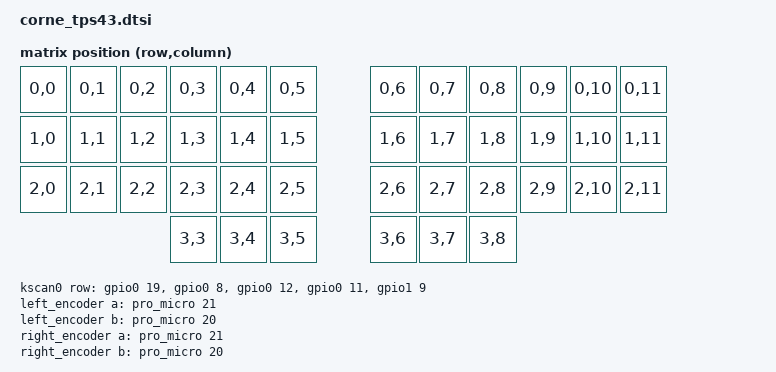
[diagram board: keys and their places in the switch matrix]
/*
 * Copyright (c) 2025 The ZMK Contributors
 *
 * SPDX-License-Identifier: MIT
 */

#include <dt-bindings/zmk/matrix_transform.h>

/ {
    chosen {
        zmk,kscan = &kscan0;
        zmk,matrix_transform = &default_transform;
    };

    default_transform: keymap_transform_0 {
        compatible = "zmk,matrix-transform";
        columns = <12>;
        rows = <4>;
        map = <
RC(0,0) RC(0,1) RC(0,2) RC(0,3) RC(0,4) RC(0,5)           RC(0,6) RC(0,7) RC(0,8) RC(0,9) RC(0,10) RC(0,11)
RC(1,0) RC(1,1) RC(1,2) RC(1,3) RC(1,4) RC(1,5)           RC(1,6) RC(1,7) RC(1,8) RC(1,9) RC(1,10) RC(1,11)
RC(2,0) RC(2,1) RC(2,2) RC(2,3) RC(2,4) RC(2,5)           RC(2,6) RC(2,7) RC(2,8) RC(2,9) RC(2,10) RC(2,11)
                        RC(3,3) RC(3,4) RC(3,5)           RC(3,6) RC(3,7) RC(3,8)
        >;
    };

    kscan0: kscan {
        compatible = "zmk,kscan-gpio-matrix";
        wakeup-source;

        diode-direction = "col2row";
        row-gpios
            = <&gpio0 19 (GPIO_ACTIVE_HIGH | GPIO_PULL_DOWN)>
            , <&gpio0 8 (GPIO_ACTIVE_HIGH | GPIO_PULL_DOWN)>
            , <&gpio0 12 (GPIO_ACTIVE_HIGH | GPIO_PULL_DOWN)>
            , <&gpio0 11 (GPIO_ACTIVE_HIGH | GPIO_PULL_DOWN)>
            , <&gpio1 9 (GPIO_ACTIVE_HIGH | GPIO_PULL_DOWN)>
            ;
    };

    left_encoder: encoder_left {
        compatible = "alps,ec11";
        steps = <80>;
        status = "disabled";
        a-gpios = <&pro_micro 21 (GPIO_ACTIVE_HIGH | GPIO_PULL_UP)>;
        b-gpios = <&pro_micro 20 (GPIO_ACTIVE_HIGH | GPIO_PULL_UP)>;
    };

    right_encoder: encoder_right {
        compatible = "alps,ec11";
        steps = <80>;
        status = "disabled";
        a-gpios = <&pro_micro 21 (GPIO_ACTIVE_HIGH | GPIO_PULL_UP)>;
        b-gpios = <&pro_micro 20 (GPIO_ACTIVE_HIGH | GPIO_PULL_UP)>;
    };

    sensors: sensors {
        compatible = "zmk,keymap-sensors";
        sensors = <&left_encoder &right_encoder>;
        triggers-per-rotation = <20>;
    };

    tps43_input: tps43_input {
        compatible = "zmk,input-listener";
        device = <&tps43>;
    };
}; 

&pinctrl {
    i2c1_default: i2c1_default {
        group1 {
            psels = <NRF_PSEL(TWIM_SDA, 1, 7)>,
                <NRF_PSEL(TWIM_SCL, 0, 24)>;
        };
    };

    i2c1_sleep: i2c1_sleep {
        group1 {
            psels = <NRF_PSEL(TWIM_SDA, 1, 7)>,
                <NRF_PSEL(TWIM_SCL, 0, 24)>;
            low-power-enable;
        };
    };
};

&i2c1 {
    status = "okay";
    compatible = "nordic,nrf-twi";
    pinctrl-0 = <&i2c1_default>;
    pinctrl-1 = <&i2c1_sleep>;
    pinctrl-names = "default", "sleep";
    clock-frequency = <I2C_BITRATE_FAST>;

    tps43: iqs5xx@74 {
        status = "okay";
        compatible = "azoteq,iqs5xx";
        reg = <0x74>;

        rdy-gpios = <&gpio1 8 GPIO_ACTIVE_HIGH>;  /* Interrupt pin */
        reset-gpios = <&gpio1 4 GPIO_ACTIVE_LOW>;  /* Reset pin */

        /*
         * Potentially non-exhaustive list of configuration options.
         * See: dts/bindings/input/azoteq,iqs5xx-common.yaml for a full list.
         */
        one-finger-tap;
        press-and-hold;
        press-and-hold-time = <250>;
        two-finger-tap;

        scroll;
        natural-scroll-y;
        natural-scroll-x;

        bottom-beta = <5>;
        stationary-threshold = <5>;

        switch-xy;
    };
};
